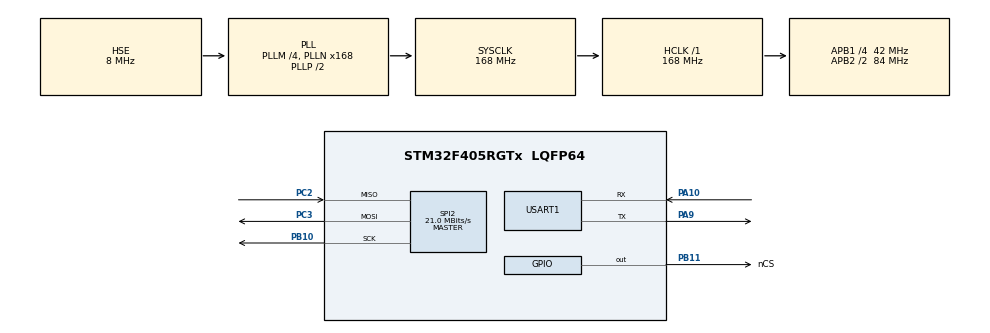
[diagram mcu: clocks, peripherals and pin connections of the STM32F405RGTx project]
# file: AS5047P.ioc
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Mcu.Family=STM32F4
Mcu.Name=STM32F405RGTx
Mcu.Package=LQFP64
NVIC.PriorityGroup=NVIC_PRIORITYGROUP_4
PA10.Mode=Asynchronous
PA10.Signal=USART1_RX
PA13.Mode=Trace_Asynchronous_SW
PA13.Signal=SYS_JTMS-SWDIO
PA14.Mode=Trace_Asynchronous_SW
PA14.Signal=SYS_JTCK-SWCLK
PA9.Mode=Asynchronous
PA9.Signal=USART1_TX
PB10.Mode=Full_Duplex_Master
PB10.Signal=SPI2_SCK
PB11.GPIO_Label=nCS
PB11.GPIO_Speed=GPIO_SPEED_FREQ_HIGH
PB11.Signal=GPIO_Output
PB3.Mode=Trace_Asynchronous_SW
PB3.Signal=SYS_JTDO-SWO
PC2.Mode=Full_Duplex_Master
PC2.Signal=SPI2_MISO
PC3.Mode=Full_Duplex_Master
PC3.Signal=SPI2_MOSI
PH0-OSC_IN.Mode=HSE-External-Oscillator
PH0-OSC_IN.Signal=RCC_OSC_IN
PH1-OSC_OUT.Mode=HSE-External-Oscillator
PH1-OSC_OUT.Signal=RCC_OSC_OUT
ProjectManager.HeapSize=0x200
ProjectManager.StackSize=0x400
ProjectManager.TargetToolchain=MDK-ARM V5
RCC.48MHZClocksFreq_Value=84000000
RCC.AHBFreq_Value=168000000
RCC.APB1CLKDivider=RCC_HCLK_DIV4
RCC.APB1Freq_Value=42000000
RCC.APB1TimFreq_Value=84000000
RCC.APB2CLKDivider=RCC_HCLK_DIV2
RCC.APB2Freq_Value=84000000
RCC.APB2TimFreq_Value=168000000
RCC.CortexFreq_Value=168000000
RCC.HCLKFreq_Value=168000000
RCC.HSE_VALUE=8000000
RCC.HSI_VALUE=16000000
RCC.LSE_VALUE=32768
RCC.PLLM=4
RCC.PLLN=168
RCC.PLLSourceVirtual=RCC_PLLSOURCE_HSE
RCC.SYSCLKFreq_VALUE=168000000
RCC.SYSCLKSource=RCC_SYSCLKSOURCE_PLLCLK
RCC.VCOOutputFreq_Value=336000000
SPI2.BaudRatePrescaler=SPI_BAUDRATEPRESCALER_2
SPI2.CalculateBaudRate=21.0 MBits/s
SPI2.DataSize=SPI_DATASIZE_8BIT
SPI2.Direction=SPI_DIRECTION_2LINES
SPI2.Mode=SPI_MODE_MASTER
SPI2.VirtualType=VM_MASTER
USART1.VirtualMode=VM_ASYNC
board=custom

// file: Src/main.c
/* USER CODE BEGIN Header */
/**
  ******************************************************************************
  * @file           : main.c
  * @brief          : Main program body
  ******************************************************************************
  * @attention
  *
  * <h2><center>&copy; Copyright (c) 2021 STMicroelectronics.
  * All rights reserved.</center></h2>
  *
  * This software component is licensed by ST under BSD 3-Clause license,
  * the "License"; You may not use this file except in compliance with the
  * License. You may obtain a copy of the License at:
  *                        opensource.org/licenses/BSD-3-Clause
  *
  ******************************************************************************
  */
/* USER CODE END Header */

#include "main.h"
#include "spi.h"
#include "usart.h"
#include "gpio.h"

/* USER CODE BEGIN Includes */
#include "AS5047P.h"
/* USER CODE END Includes */

void SystemClock_Config(void);
/* USER CODE BEGIN PFP */
void uart_send_char(unsigned char data);
void uart_send_uint(unsigned int data);
/* USER CODE END PFP */

/* USER CODE BEGIN 0 */
//float temp;
uint16_t temp;
extern UART_HandleTypeDef huart1;
/* USER CODE END 0 */

int main(void)
{

  /* MCU Configuration--------------------------------------------------------*/

  /* Reset of all peripherals, Initializes the Flash interface and the Systick. */
  HAL_Init();

  /* Configure the system clock */
  SystemClock_Config();

  /* Initialize all configured peripherals */
  MX_GPIO_Init();
  MX_SPI2_Init();
  MX_USART1_UART_Init();
  /* USER CODE BEGIN 2 */
//	AS5047P_Init();
//	AS5047P_SetZero();
//	AS5047P_Read(AS5047P_ANGLEUNC);
  /* USER CODE END 2 */

  /* Infinite loop */
  /* USER CODE BEGIN WHILE */
  while (1)
  {
//		temp=(float)AS5047P_ReadData() ;//���ݻ���
		temp=(float)AS5047P_ReadData() * 360.0f / 16383.0f;//���ݻ���
		temp*=100;
		uart_send_uint((unsigned int)(temp));
		HAL_Delay(10);
    /* USER CODE END WHILE */

  }
}

void SystemClock_Config(void)
{
  RCC_OscInitTypeDef RCC_OscInitStruct = {0};
  RCC_ClkInitTypeDef RCC_ClkInitStruct = {0};

  /** Configure the main internal regulator output voltage
  */
  __HAL_RCC_PWR_CLK_ENABLE();
  __HAL_PWR_VOLTAGESCALING_CONFIG(PWR_REGULATOR_VOLTAGE_SCALE1);
  /** Initializes the CPU, AHB and APB busses clocks
  */
  RCC_OscInitStruct.OscillatorType = RCC_OSCILLATORTYPE_HSE;
  RCC_OscInitStruct.HSEState = RCC_HSE_ON;
  RCC_OscInitStruct.PLL.PLLState = RCC_PLL_ON;
  RCC_OscInitStruct.PLL.PLLSource = RCC_PLLSOURCE_HSE;
  RCC_OscInitStruct.PLL.PLLM = 4;
  RCC_OscInitStruct.PLL.PLLN = 168;
  RCC_OscInitStruct.PLL.PLLP = RCC_PLLP_DIV2;
  RCC_OscInitStruct.PLL.PLLQ = 4;
  if (HAL_RCC_OscConfig(&RCC_OscInitStruct) != HAL_OK)
  {
    Error_Handler();
  }
  /** Initializes the CPU, AHB and APB busses clocks
  */
  RCC_ClkInitStruct.ClockType = RCC_CLOCKTYPE_HCLK|RCC_CLOCKTYPE_SYSCLK
                              |RCC_CLOCKTYPE_PCLK1|RCC_CLOCKTYPE_PCLK2;
  RCC_ClkInitStruct.SYSCLKSource = RCC_SYSCLKSOURCE_PLLCLK;
  RCC_ClkInitStruct.AHBCLKDivider = RCC_SYSCLK_DIV1;
  RCC_ClkInitStruct.APB1CLKDivider = RCC_HCLK_DIV4;
  RCC_ClkInitStruct.APB2CLKDivider = RCC_HCLK_DIV2;

  if (HAL_RCC_ClockConfig(&RCC_ClkInitStruct, FLASH_LATENCY_5) != HAL_OK)
  {
    Error_Handler();
  }
}

/* USER CODE BEGIN 4 */
void uart_send_char(unsigned char data)
{
	HAL_UART_Transmit(&huart1, &data, 1, 100);
}

void uart_send_uint(unsigned int data)
{
	uart_send_char(((unsigned char)(data/10000))+0X30);
	uart_send_char(((unsigned char)(data/1000%10))+0X30);
	uart_send_char(((unsigned char)(data/100%10))+0X30);
	uart_send_char('.');
	uart_send_char(((unsigned char)(data/10%10))+0X30);
	uart_send_char(((unsigned char)(data%10))+0X30);
	uart_send_char(0X0d);
	uart_send_char(0X0A);
}

/* USER CODE END 4 */

void Error_Handler(void)
{
}

/************************ (C) COPYRIGHT STMicroelectronics *****END OF FILE****/
